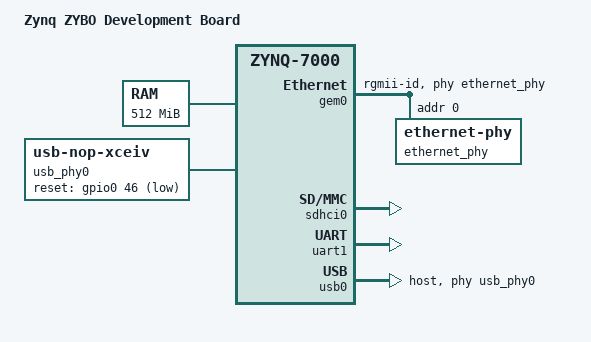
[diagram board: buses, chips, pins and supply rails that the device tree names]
/*
 *  Copyright (C) 2011 - 2014 Xilinx
 *  Copyright (C) 2012 National Instruments Corp.
 *
 * This software is licensed under the terms of the GNU General Public
 * License version 2, as published by the Free Software Foundation, and
 * may be copied, distributed, and modified under those terms.
 *
 * This program is distributed in the hope that it will be useful,
 * but WITHOUT ANY WARRANTY; without even the implied warranty of
 * MERCHANTABILITY or FITNESS FOR A PARTICULAR PURPOSE.  See the
 * GNU General Public License for more details.
 */
/dts-v1/;
/include/ "zynq-7000.dtsi"

/ {
	model = "Zynq ZYBO Development Board";
	compatible = "digilent,zynq-zybo", "xlnx,zynq-7000";

	aliases {
		ethernet0 = &gem0;
		serial0 = &uart1;
	};

	memory {
		device_type = "memory";
		reg = <0x0 0x20000000>;
	};

	chosen {
		bootargs = "earlyprintk";
		stdout-path = "serial0:115200n8";
	};

	usb_phy0: phy0 {
		#phy-cells = <0>;
		compatible = "usb-nop-xceiv";
		reset-gpios = <&gpio0 46 1>;
	};
};

&clkc {
	ps-clk-frequency = <50000000>;
};

&gem0 {
	status = "okay";
	phy-mode = "rgmii-id";
	phy-handle = <&ethernet_phy>;

	ethernet_phy: ethernet-phy@0 {
		reg = <0>;
	};
};

&sdhci0 {
	status = "okay";
};

&uart1 {
	status = "okay";
};

&usb0 {
	status = "okay";
	dr_mode = "host";
	usb-phy = <&usb_phy0>;
};
